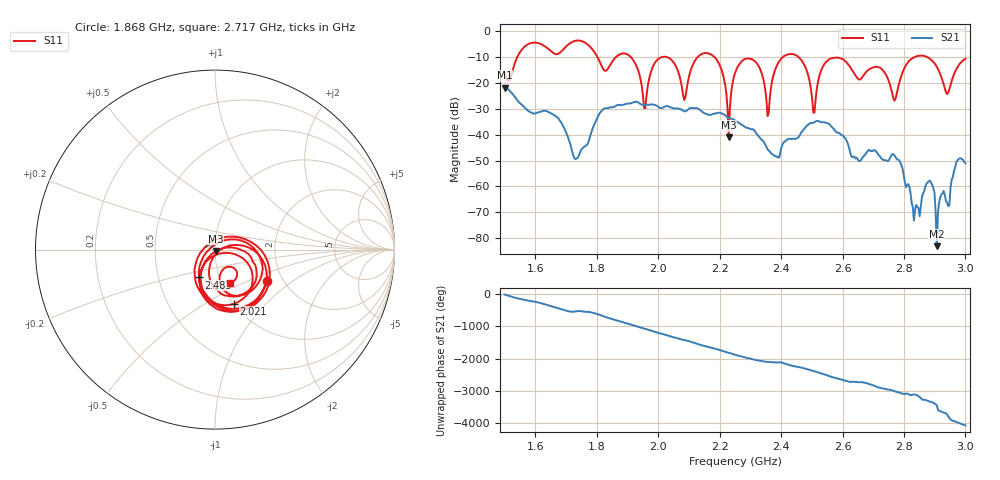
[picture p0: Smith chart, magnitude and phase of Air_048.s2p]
# HZ S RI R 50
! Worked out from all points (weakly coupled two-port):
!   404 points, 1.5 GHz to 3 GHz, reference 50 ohm
!   highest |S21| = -21.79 dB at 1.5 GHz (marker M1); lowest = -83.1 dB at 2.907 GHz (marker M2)
!   lowest |S11| = -41.0 dB at 2.23 GHz (marker M3), VSWR 1.02, Z = 50.5 - j0.75 ohm
!   |S11| at or under -10 dB: 2.183 GHz to 2.406 GHz (223.4 MHz wide, 9.74 % of centre); 2.457 GHz to 2.835 GHz (378.8 MHz wide, 14.3 % of centre); 2.875 GHz to end of sweep (the widest 3 of 7)
!   S12 and S22 are empty: the file has one direction only
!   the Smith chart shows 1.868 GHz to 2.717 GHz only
!   S11 on the Smith chart (normalised r, x): 1.868 GHz: 1.65, -0.65; 2.021 GHz: 1.00, -0.68; 2.483 GHz: 0.80, -0.26; 2.717 GHz: 1.09, -0.42
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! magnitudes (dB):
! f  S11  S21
! 1.5 GHz  -16.2  -21.8
! 1.753 GHz  -3.9  -45.4
! 1.868 GHz  -9.5  -28.5
! 1.958 GHz  -29.8  -28.4
! 2.002 GHz  -10.5  -29.5
! 2.021 GHz  -9.9  -29.2
! 2.084 GHz  -26.6  -31.0
! 2.177 GHz  -9.5  -32.0
! 2.23 GHz  -41.0  -33.6
! 2.252 GHz  -15.7  -34.6
! 2.315 GHz  -11.7  -38.7
! 2.356 GHz  -32.8  -45.6
! 2.386 GHz  -13.4  -48.6
! 2.483 GHz  -14.9  -36.6
! 2.501 GHz  -26.4  -35.5
! 2.561 GHz  -10.7  -36.5
! 2.717 GHz  -13.9  -47.9
! 2.751 GHz  -19.3  -49.9
! 2.833 GHz  -10.1  -73.2
! 2.907 GHz  -13.8  -83.1
! 2.94 GHz  -24.3  -66.2
! 3 GHz  -10.7  -51.0
